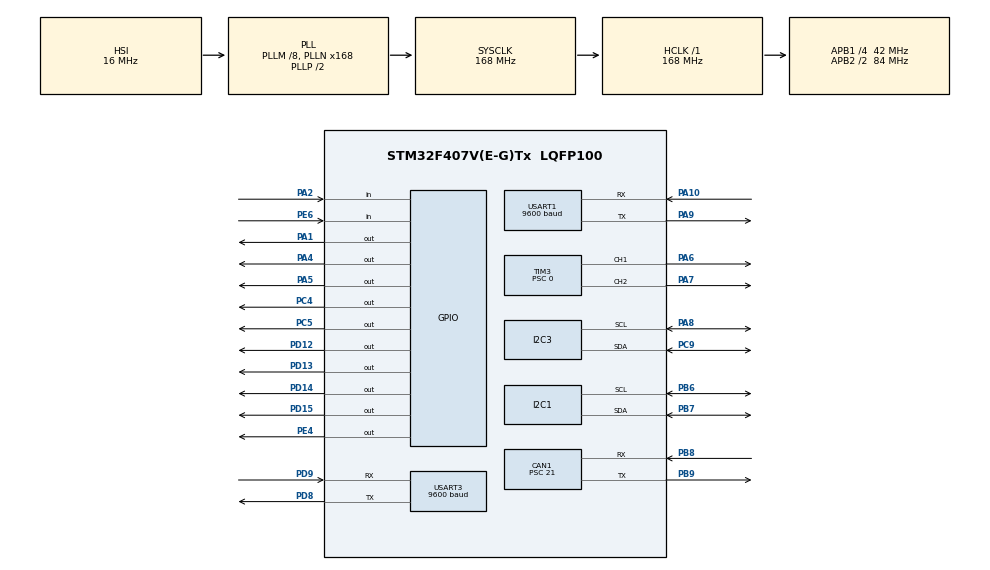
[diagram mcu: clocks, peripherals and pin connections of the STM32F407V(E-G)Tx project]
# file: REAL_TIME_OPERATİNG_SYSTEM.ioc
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CAN1.BS1=CAN_BS1_10TQ
CAN1.BS2=CAN_BS2_5TQ
CAN1.CalculateTimeQuantum=500.0
CAN1.Prescaler=21
I2C1.I2C_Mode=I2C_Fast
I2C3.I2C_Mode=I2C_Fast
Mcu.Family=STM32F4
Mcu.Name=STM32F407V(E-G)Tx
Mcu.Package=LQFP100
NVIC.PriorityGroup=NVIC_PRIORITYGROUP_0
PA1.Signal=GPIO_Output
PA10.Mode=Asynchronous
PA10.Signal=USART1_RX
PA2.Signal=GPIO_Input
PA4.Signal=GPIO_Output
PA5.Signal=GPIO_Output
PA6.Signal=S_TIM3_CH1
PA7.Signal=S_TIM3_CH2
PA8.Mode=I2C
PA8.Signal=I2C3_SCL
PA9.Mode=Asynchronous
PA9.Signal=USART1_TX
PB6.Mode=I2C
PB6.Signal=I2C1_SCL
PB7.Mode=I2C
PB7.Signal=I2C1_SDA
PB8.Mode=Master
PB8.Signal=CAN1_RX
PB9.Mode=Master
PB9.Signal=CAN1_TX
PC4.Signal=GPIO_Output
PC5.Signal=GPIO_Output
PC9.Mode=I2C
PC9.Signal=I2C3_SDA
PD12.Signal=GPIO_Output
PD13.Signal=GPIO_Output
PD14.Signal=GPIO_Output
PD15.Signal=GPIO_Output
PD8.Mode=Asynchronous
PD8.Signal=USART3_TX
PD9.Mode=Asynchronous
PD9.Signal=USART3_RX
PE4.Signal=GPIO_Output
PE6.Signal=GPIO_Input
PH0-OSC_IN.Mode=HSE-External-Oscillator
PH0-OSC_IN.Signal=RCC_OSC_IN
PH1-OSC_OUT.Mode=HSE-External-Oscillator
PH1-OSC_OUT.Signal=RCC_OSC_OUT
ProjectManager.HeapSize=0x200
ProjectManager.StackSize=0x400
ProjectManager.TargetToolchain=STM32CubeIDE
RCC.48MHZClocksFreq_Value=84000000
RCC.AHBFreq_Value=168000000
RCC.APB1CLKDivider=RCC_HCLK_DIV4
RCC.APB1Freq_Value=42000000
RCC.APB1TimFreq_Value=84000000
RCC.APB2CLKDivider=RCC_HCLK_DIV2
RCC.APB2Freq_Value=84000000
RCC.APB2TimFreq_Value=168000000
RCC.CortexFreq_Value=168000000
RCC.HCLKFreq_Value=168000000
RCC.HSE_VALUE=8000000
RCC.HSI_VALUE=16000000
RCC.LSE_VALUE=32768
RCC.PLLM=8
RCC.PLLN=168
RCC.SYSCLKFreq_VALUE=168000000
RCC.SYSCLKSource=RCC_SYSCLKSOURCE_PLLCLK
RCC.VCOOutputFreq_Value=336000000
SH.S_TIM3_CH1.0=TIM3_CH1,PWM Generation1 CH1
SH.S_TIM3_CH2.0=TIM3_CH2,PWM Generation2 CH2
TIM3.Channel-PWM\ Generation1\ CH1=TIM_CHANNEL_1
TIM3.Channel-PWM\ Generation2\ CH2=TIM_CHANNEL_2
TIM3.Period=100
TIM3.Prescaler=0
USART1.BaudRate=9600
USART1.VirtualMode=VM_ASYNC
USART3.BaudRate=9600
USART3.VirtualMode=VM_ASYNC
board=custom

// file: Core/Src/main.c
/* USER CODE BEGIN Header */
/**
  ******************************************************************************
  * @file           : main.c
  * @brief          : Main program body
  ******************************************************************************
  * @attention
  *
  * <h2><center>&copy; Copyright (c) 2021 STMicroelectronics.
  * All rights reserved.</center></h2>
  *
  * This software component is licensed by ST under BSD 3-Clause license,
  * the "License"; You may not use this file except in compliance with the
  * License. You may obtain a copy of the License at:
  *                        opensource.org/licenses/BSD-3-Clause
  *
  ******************************************************************************
  */
/* USER CODE END Header */

#include "main.h"

/* USER CODE BEGIN Includes */
#include "dwt_stm32_delay.h"
#include "string.h"
#include "stdio.h"
#include"stdlib.h"
#include "mpu6050.h"
#include "math.h"
#include "BMP180.h"
/* USER CODE END Includes */

CAN_HandleTypeDef hcan1;

I2C_HandleTypeDef hi2c1;
I2C_HandleTypeDef hi2c3;

TIM_HandleTypeDef htim3;

UART_HandleTypeDef huart1;
UART_HandleTypeDef huart3;

/* USER CODE BEGIN PV */
MPU6050_t MPU6050;
uint32_t time;

uint16_t distance;
uint8_t mymessage[50];
uint8_t cmdend[3]= {0xFF ,0xFF ,0xFF};

float sicaklik;
char rx_buffer[50],tx_buffer[50];
CAN_HandleTypeDef hcan1;

CAN_TxHeaderTypeDef pHeader;
uint32_t mTxMailbox;

uint32_t pTxMailbox;
float Temperature = 0;
float Pressure = 0;
float Altitude = 0;
/* USER CODE END PV */

void SystemClock_Config(void);
static void MX_GPIO_Init(void);
static void MX_TIM3_Init(void);
static void MX_I2C1_Init(void);
static void MX_I2C3_Init(void);
static void MX_USART3_UART_Init(void);
static void MX_USART1_UART_Init(void);
static void MX_CAN1_Init(void);

/* USER CODE BEGIN 0 */
void NEXTION_SendFloat (char *obj, float num, int dp)
{

   uint8_t *buffer = malloc(30*sizeof (char));
   int len = sprintf ((char *)mymessage, "%s.vvs1=%d", obj, dp);
   HAL_UART_Transmit(&huart1, buffer, len, 1000);
   HAL_UART_Transmit(&huart1, cmdend, 3, 100);

   int32_t number = num*(pow(10,dp));
   len = sprintf ((char *)mymessage, "%s.val=%ld", obj, number);
   HAL_UART_Transmit(&huart1, mymessage, len, 1000);
   HAL_UART_Transmit(&huart1, cmdend, 3, 100);
   free(buffer);
}
/* USER CODE END 0 */

int main(void)
{
  /* USER CODE BEGIN 1 */

	uint32_t  ReadHCSR04()

	{
		uint32_t local_time=0;
		HAL_GPIO_WritePin(GPIOA, GPIO_PIN_1, GPIO_PIN_SET);
		DWT_Delay_us(10);
		HAL_GPIO_WritePin(GPIOA, GPIO_PIN_1, GPIO_PIN_RESET);

		while(!HAL_GPIO_ReadPin(GPIOA, GPIO_PIN_2));

		while(HAL_GPIO_ReadPin(GPIOA, GPIO_PIN_2))
		{
			local_time++;
			DWT_Delay_us(1);
		}
		return local_time;

	}

	HAL_TIM_PWM_Start(&htim3, TIM_CHANNEL_1);
	HAL_TIM_PWM_Start(&htim3, TIM_CHANNEL_2);
	BMP180_Start();

  /* USER CODE END 1 */

  /* MCU Configuration--------------------------------------------------------*/

  /* Reset of all peripherals, Initializes the Flash interface and the Systick. */
  HAL_Init();

  /* USER CODE BEGIN Init */

	DWT_Delay_Init();

  /* USER CODE END Init */

  /* Configure the system clock */
  SystemClock_Config();

  /* Initialize all configured peripherals */
  MX_GPIO_Init();
  MX_TIM3_Init();
  MX_I2C1_Init();
  MX_I2C3_Init();
  MX_USART3_UART_Init();
  MX_USART1_UART_Init();
  MX_CAN1_Init();
  /* USER CODE BEGIN 2 */

  while (MPU6050_Init(&hi2c1) == 1);

  void ileri_motor1(int s)
    {

  	  TIM3->CCR1=s;
  	  HAL_GPIO_WritePin(GPIOA, GPIO_PIN_4, GPIO_PIN_SET);
  	  HAL_GPIO_WritePin(GPIOA, GPIO_PIN_5, GPIO_PIN_RESET);

    }

    void geri_motor1(int s)
    {

  	  TIM3->CCR1=s;
  	  HAL_GPIO_WritePin(GPIOA, GPIO_PIN_4, GPIO_PIN_RESET);
  	  HAL_GPIO_WritePin(GPIOA, GPIO_PIN_5, GPIO_PIN_SET);

    }

    void dur_motor1()
    {

  	  TIM3->CCR1=0;
  	  HAL_GPIO_WritePin(GPIOA, GPIO_PIN_4, GPIO_PIN_RESET);
  	  HAL_GPIO_WritePin(GPIOA, GPIO_PIN_5, GPIO_PIN_RESET);

    }

    void ileri_motor2(int a)
    {

  	  TIM3->CCR2=a;
  	  HAL_GPIO_WritePin(GPIOC, GPIO_PIN_4, GPIO_PIN_SET);
  	  HAL_GPIO_WritePin(GPIOC, GPIO_PIN_5, GPIO_PIN_RESET);

    }

    void geri_motor2(int a)
    {

  	  TIM3->CCR2=a;
  	  HAL_GPIO_WritePin(GPIOC, GPIO_PIN_4, GPIO_PIN_RESET);
  	  HAL_GPIO_WritePin(GPIOC, GPIO_PIN_5, GPIO_PIN_SET);

    }

    void dur_motor2()
    {

  	  TIM3->CCR2=0;
  	  HAL_GPIO_WritePin(GPIOC, GPIO_PIN_4, GPIO_PIN_RESET);
  	  HAL_GPIO_WritePin(GPIOC, GPIO_PIN_5, GPIO_PIN_RESET);

    }
   /* pHeader.DLC=1;
    pHeader.IDE=CAN_ID_EXT;
    pHeader.RTR=CAN_RTR_DATA;
    pHeader.StdId=0x0AF09876;

	HAL_CAN_Start(&hcan1);

   // Set Filter Parameters

  /* USER CODE END 2 */

  /* Infinite loop */
  while (1)
  {

    /* USER CODE BEGIN 3 */

	 MPU6050_Read_All(&hi2c1, &MPU6050);
	  time=ReadHCSR04();
	  distance=time/58;
	  Temperature = BMP180_GetTemp();

	   Pressure = BMP180_GetPress (0);

	     Altitude = BMP180_GetAlt(0);

	  sicaklik=MPU6050.Temperature;
	  sprintf((char*)mymessage,"n0.val=%d",distance);
	  HAL_UART_Transmit(&huart1, mymessage, strlen(mymessage), 100);
	  HAL_UART_Transmit(&huart1, cmdend, 3, 100);
	  NEXTION_SendFloat("x0", sicaklik, 3);

	 // HAL_CAN_AddTxMessage(&hcan1, &pHeader,distance, &mTxMailbox);

       HAL_UART_Receive(&huart3, (uint8_t*)rx_buffer, 50, 100);

       	  if(rx_buffer[0] =='m' &&  rx_buffer[1] =='o' &&   rx_buffer[2] =='t' &&   rx_buffer[3] =='o' &&
       			  rx_buffer[4] =='r' && rx_buffer[5] =='1' &&  rx_buffer[6] ==' ' &&   rx_buffer[7] =='i' &&
       			  rx_buffer[8] =='l' &&   rx_buffer[9] =='e' &&   rx_buffer[10] =='r' &&   rx_buffer[11] =='i' )
       	  {

       		  HAL_UART_Transmit(&huart3, (uint8_t*)tx_buffer, sprintf(tx_buffer,"1. motor ileri calisti. "), 100);
       		  HAL_GPIO_TogglePin(GPIOD, GPIO_PIN_12);
       		  ileri_motor1(85);

       	  }

       	  if(rx_buffer[0] =='m' &&  rx_buffer[1] =='o' &&   rx_buffer[2] =='t' &&   rx_buffer[3] =='o' &&
       			  rx_buffer[4] =='r' && rx_buffer[5] =='1' &&  rx_buffer[6] ==' ' &&   rx_buffer[7] =='g' &&
       			  rx_buffer[8] =='e' &&   rx_buffer[9] =='r' &&   rx_buffer[10] =='i' )
       	  {

       		  HAL_UART_Transmit(&huart3, (uint8_t*)tx_buffer, sprintf(tx_buffer,"1. motor geri calisti. "), 100);
       		  HAL_GPIO_TogglePin(GPIOD, GPIO_PIN_13);

       		  geri_motor1(85);

       	  }

       	  if(rx_buffer[0] =='m' &&  rx_buffer[1] =='o' &&   rx_buffer[2] =='t' &&   rx_buffer[3] =='o' &&
       			  rx_buffer[4] =='r' && rx_buffer[5] =='2' &&  rx_buffer[6] ==' ' &&   rx_buffer[7] =='i' &&
       			  rx_buffer[8] =='l' &&   rx_buffer[9] =='e' &&   rx_buffer[10] =='r' &&   rx_buffer[11] =='i' )
       	  {

       		  HAL_UART_Transmit(&huart3, (uint8_t*)tx_buffer, sprintf(tx_buffer,"2. motor ileri calisti. "), 100);
       		  ileri_motor2(85);
       		  HAL_GPIO_TogglePin(GPIOD, GPIO_PIN_14);

       	  }

       	  if(rx_buffer[0] =='m' &&  rx_buffer[1] =='o' &&   rx_buffer[2] =='t' &&   rx_buffer[3] =='o' &&
       			  rx_buffer[4] =='r' && rx_buffer[5] =='2' &&  rx_buffer[6] ==' ' &&   rx_buffer[7] =='g' &&
       			  rx_buffer[8] =='e' &&   rx_buffer[9] =='r' &&   rx_buffer[10] =='i' )
       	  {

       		  HAL_UART_Transmit(&huart3, (uint8_t*)tx_buffer, sprintf(tx_buffer,"2. motor geri calisti. "), 100);
       		  HAL_GPIO_TogglePin(GPIOD, GPIO_PIN_15);

       		  geri_motor2(85);

       	  }

       	  if(HAL_GPIO_ReadPin(GPIOE, GPIO_PIN_6)==GPIO_PIN_SET)
       	  {

       		  HAL_UART_Transmit(&huart3, (uint8_t*)tx_buffer, sprintf(tx_buffer,"1. ve 2. motorlar durduruldu. "), 100);
       		  HAL_GPIO_TogglePin(GPIOD, GPIO_PIN_12 | GPIO_PIN_13 | GPIO_PIN_14 | GPIO_PIN_15);

       		  dur_motor1();
       		  dur_motor2();

       	  }

  }
  /* USER CODE END 3 */
}

void SystemClock_Config(void)
{
  RCC_OscInitTypeDef RCC_OscInitStruct = {0};
  RCC_ClkInitTypeDef RCC_ClkInitStruct = {0};

  /** Configure the main internal regulator output voltage
  */
  __HAL_RCC_PWR_CLK_ENABLE();
  __HAL_PWR_VOLTAGESCALING_CONFIG(PWR_REGULATOR_VOLTAGE_SCALE1);
  /** Initializes the CPU, AHB and APB busses clocks
  */
  RCC_OscInitStruct.OscillatorType = RCC_OSCILLATORTYPE_HSI;
  RCC_OscInitStruct.HSIState = RCC_HSI_ON;
  RCC_OscInitStruct.HSICalibrationValue = RCC_HSICALIBRATION_DEFAULT;
  RCC_OscInitStruct.PLL.PLLState = RCC_PLL_ON;
  RCC_OscInitStruct.PLL.PLLSource = RCC_PLLSOURCE_HSI;
  RCC_OscInitStruct.PLL.PLLM = 8;
  RCC_OscInitStruct.PLL.PLLN = 168;
  RCC_OscInitStruct.PLL.PLLP = RCC_PLLP_DIV2;
  RCC_OscInitStruct.PLL.PLLQ = 4;
  if (HAL_RCC_OscConfig(&RCC_OscInitStruct) != HAL_OK)
  {
    Error_Handler();
  }
  /** Initializes the CPU, AHB and APB busses clocks
  */
  RCC_ClkInitStruct.ClockType = RCC_CLOCKTYPE_HCLK|RCC_CLOCKTYPE_SYSCLK
                              |RCC_CLOCKTYPE_PCLK1|RCC_CLOCKTYPE_PCLK2;
  RCC_ClkInitStruct.SYSCLKSource = RCC_SYSCLKSOURCE_PLLCLK;
  RCC_ClkInitStruct.AHBCLKDivider = RCC_SYSCLK_DIV1;
  RCC_ClkInitStruct.APB1CLKDivider = RCC_HCLK_DIV4;
  RCC_ClkInitStruct.APB2CLKDivider = RCC_HCLK_DIV2;

  if (HAL_RCC_ClockConfig(&RCC_ClkInitStruct, FLASH_LATENCY_5) != HAL_OK)
  {
    Error_Handler();
  }
}

static void MX_CAN1_Init(void)
{

  hcan1.Instance = CAN1;
  hcan1.Init.Prescaler = 21;
  hcan1.Init.Mode = CAN_MODE_NORMAL;
  hcan1.Init.SyncJumpWidth = CAN_SJW_1TQ;
  hcan1.Init.TimeSeg1 = CAN_BS1_10TQ;
  hcan1.Init.TimeSeg2 = CAN_BS2_5TQ;
  hcan1.Init.TimeTriggeredMode = DISABLE;
  hcan1.Init.AutoBusOff = DISABLE;
  hcan1.Init.AutoWakeUp = DISABLE;
  hcan1.Init.AutoRetransmission = DISABLE;
  hcan1.Init.ReceiveFifoLocked = DISABLE;
  hcan1.Init.TransmitFifoPriority = DISABLE;
  if (HAL_CAN_Init(&hcan1) != HAL_OK)
  {
    Error_Handler();
  }

}

static void MX_I2C1_Init(void)
{

  hi2c1.Instance = I2C1;
  hi2c1.Init.ClockSpeed = 400000;
  hi2c1.Init.DutyCycle = I2C_DUTYCYCLE_2;
  hi2c1.Init.OwnAddress1 = 0;
  hi2c1.Init.AddressingMode = I2C_ADDRESSINGMODE_7BIT;
  hi2c1.Init.DualAddressMode = I2C_DUALADDRESS_DISABLE;
  hi2c1.Init.OwnAddress2 = 0;
  hi2c1.Init.GeneralCallMode = I2C_GENERALCALL_DISABLE;
  hi2c1.Init.NoStretchMode = I2C_NOSTRETCH_DISABLE;
  if (HAL_I2C_Init(&hi2c1) != HAL_OK)
  {
    Error_Handler();
  }

}

static void MX_I2C3_Init(void)
{

  hi2c3.Instance = I2C3;
  hi2c3.Init.ClockSpeed = 400000;
  hi2c3.Init.DutyCycle = I2C_DUTYCYCLE_2;
  hi2c3.Init.OwnAddress1 = 0;
  hi2c3.Init.AddressingMode = I2C_ADDRESSINGMODE_7BIT;
  hi2c3.Init.DualAddressMode = I2C_DUALADDRESS_DISABLE;
  hi2c3.Init.OwnAddress2 = 0;
  hi2c3.Init.GeneralCallMode = I2C_GENERALCALL_DISABLE;
  hi2c3.Init.NoStretchMode = I2C_NOSTRETCH_DISABLE;
  if (HAL_I2C_Init(&hi2c3) != HAL_OK)
  {
    Error_Handler();
  }

}

static void MX_TIM3_Init(void)
{

  TIM_MasterConfigTypeDef sMasterConfig = {0};
  TIM_OC_InitTypeDef sConfigOC = {0};

  htim3.Instance = TIM3;
  htim3.Init.Prescaler = 0;
  htim3.Init.CounterMode = TIM_COUNTERMODE_UP;
  htim3.Init.Period = 100;
  htim3.Init.ClockDivision = TIM_CLOCKDIVISION_DIV1;
  htim3.Init.AutoReloadPreload = TIM_AUTORELOAD_PRELOAD_DISABLE;
  if (HAL_TIM_PWM_Init(&htim3) != HAL_OK)
  {
    Error_Handler();
  }
  sMasterConfig.MasterOutputTrigger = TIM_TRGO_RESET;
  sMasterConfig.MasterSlaveMode = TIM_MASTERSLAVEMODE_DISABLE;
  if (HAL_TIMEx_MasterConfigSynchronization(&htim3, &sMasterConfig) != HAL_OK)
  {
    Error_Handler();
  }
  sConfigOC.OCMode = TIM_OCMODE_PWM1;
  sConfigOC.Pulse = 0;
  sConfigOC.OCPolarity = TIM_OCPOLARITY_HIGH;
  sConfigOC.OCFastMode = TIM_OCFAST_DISABLE;
  if (HAL_TIM_PWM_ConfigChannel(&htim3, &sConfigOC, TIM_CHANNEL_1) != HAL_OK)
  {
    Error_Handler();
  }
  if (HAL_TIM_PWM_ConfigChannel(&htim3, &sConfigOC, TIM_CHANNEL_2) != HAL_OK)
  {
    Error_Handler();
  }
  HAL_TIM_MspPostInit(&htim3);

}

static void MX_USART1_UART_Init(void)
{

  huart1.Instance = USART1;
  huart1.Init.BaudRate = 9600;
  huart1.Init.WordLength = UART_WORDLENGTH_8B;
  huart1.Init.StopBits = UART_STOPBITS_1;
  huart1.Init.Parity = UART_PARITY_NONE;
  huart1.Init.Mode = UART_MODE_TX_RX;
  huart1.Init.HwFlowCtl = UART_HWCONTROL_NONE;
  huart1.Init.OverSampling = UART_OVERSAMPLING_16;
  if (HAL_UART_Init(&huart1) != HAL_OK)
  {
    Error_Handler();
  }

}

static void MX_USART3_UART_Init(void)
{

  huart3.Instance = USART3;
  huart3.Init.BaudRate = 9600;
  huart3.Init.WordLength = UART_WORDLENGTH_8B;
  huart3.Init.StopBits = UART_STOPBITS_1;
  huart3.Init.Parity = UART_PARITY_NONE;
  huart3.Init.Mode = UART_MODE_TX_RX;
  huart3.Init.HwFlowCtl = UART_HWCONTROL_NONE;
  huart3.Init.OverSampling = UART_OVERSAMPLING_16;
  if (HAL_UART_Init(&huart3) != HAL_OK)
  {
    Error_Handler();
  }

}

static void MX_GPIO_Init(void)
{
  GPIO_InitTypeDef GPIO_InitStruct = {0};

  /* GPIO Ports Clock Enable */
  __HAL_RCC_GPIOE_CLK_ENABLE();
  __HAL_RCC_GPIOH_CLK_ENABLE();
  __HAL_RCC_GPIOA_CLK_ENABLE();
  __HAL_RCC_GPIOC_CLK_ENABLE();
  __HAL_RCC_GPIOD_CLK_ENABLE();
  __HAL_RCC_GPIOB_CLK_ENABLE();

  /*Configure GPIO pin Output Level */
  HAL_GPIO_WritePin(GPIOE, GPIO_PIN_4, GPIO_PIN_RESET);

  /*Configure GPIO pin Output Level */
  HAL_GPIO_WritePin(GPIOA, GPIO_PIN_1|GPIO_PIN_4|GPIO_PIN_5, GPIO_PIN_RESET);

  /*Configure GPIO pin Output Level */
  HAL_GPIO_WritePin(GPIOC, GPIO_PIN_4|GPIO_PIN_5, GPIO_PIN_RESET);

  /*Configure GPIO pin Output Level */
  HAL_GPIO_WritePin(GPIOD, GPIO_PIN_12|GPIO_PIN_13|GPIO_PIN_14|GPIO_PIN_15, GPIO_PIN_RESET);

  /*Configure GPIO pin : PE4 */
  GPIO_InitStruct.Pin = GPIO_PIN_4;
  GPIO_InitStruct.Mode = GPIO_MODE_OUTPUT_PP;
  GPIO_InitStruct.Pull = GPIO_NOPULL;
  GPIO_InitStruct.Speed = GPIO_SPEED_FREQ_LOW;
  HAL_GPIO_Init(GPIOE, &GPIO_InitStruct);

  /*Configure GPIO pin : PE6 */
  GPIO_InitStruct.Pin = GPIO_PIN_6;
  GPIO_InitStruct.Mode = GPIO_MODE_INPUT;
  GPIO_InitStruct.Pull = GPIO_NOPULL;
  HAL_GPIO_Init(GPIOE, &GPIO_InitStruct);

  /*Configure GPIO pins : PA1 PA4 PA5 */
  GPIO_InitStruct.Pin = GPIO_PIN_1|GPIO_PIN_4|GPIO_PIN_5;
  GPIO_InitStruct.Mode = GPIO_MODE_OUTPUT_PP;
  GPIO_InitStruct.Pull = GPIO_NOPULL;
  GPIO_InitStruct.Speed = GPIO_SPEED_FREQ_LOW;
  HAL_GPIO_Init(GPIOA, &GPIO_InitStruct);

  /*Configure GPIO pin : PA2 */
  GPIO_InitStruct.Pin = GPIO_PIN_2;
  GPIO_InitStruct.Mode = GPIO_MODE_INPUT;
  GPIO_InitStruct.Pull = GPIO_NOPULL;
  HAL_GPIO_Init(GPIOA, &GPIO_InitStruct);

  /*Configure GPIO pins : PC4 PC5 */
  GPIO_InitStruct.Pin = GPIO_PIN_4|GPIO_PIN_5;
  GPIO_InitStruct.Mode = GPIO_MODE_OUTPUT_PP;
  GPIO_InitStruct.Pull = GPIO_NOPULL;
  GPIO_InitStruct.Speed = GPIO_SPEED_FREQ_LOW;
  HAL_GPIO_Init(GPIOC, &GPIO_InitStruct);

  /*Configure GPIO pins : PD12 PD13 PD14 PD15 */
  GPIO_InitStruct.Pin = GPIO_PIN_12|GPIO_PIN_13|GPIO_PIN_14|GPIO_PIN_15;
  GPIO_InitStruct.Mode = GPIO_MODE_OUTPUT_PP;
  GPIO_InitStruct.Pull = GPIO_NOPULL;
  GPIO_InitStruct.Speed = GPIO_SPEED_FREQ_LOW;
  HAL_GPIO_Init(GPIOD, &GPIO_InitStruct);

}

void Error_Handler(void)
{
}

/************************ (C) COPYRIGHT STMicroelectronics *****END OF FILE****/
